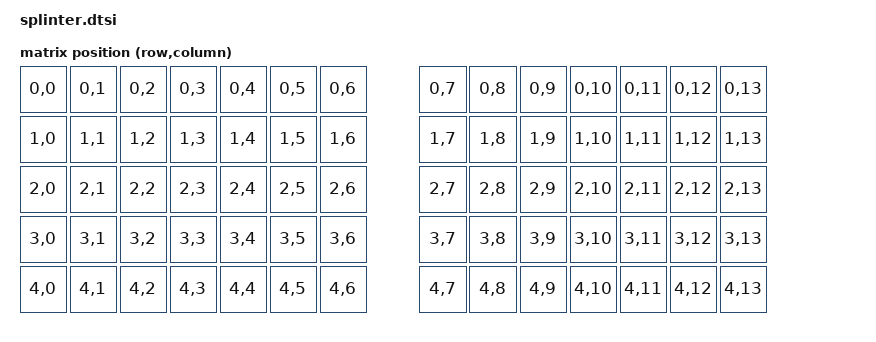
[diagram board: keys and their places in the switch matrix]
/*
 * Copyright (c) 2024 The ZMK Contributors
 * SPDX-License-Identifier: MIT
 *
 * Splinter 65% Split Keyboard - Shared Configuration
 * Matrix: 10 rows x 7 columns (5 rows per side)
 * 70 keys total (35 per side)
 */

#include <dt-bindings/zmk/matrix_transform.h>
#include <physical_layouts.dtsi>

/ {
    chosen {
        zmk,kscan = &kscan0;
    };

    /*
     * Key transform mapping physical keys to matrix positions
     * Left half: rows 0-4, Right half: rows 5-9
     *
     * Physical Layout:
     * ┌───┬───┬───┬───┬───┬───┬───┐   ┌───┬───┬───┬───┬───┬───┬───────┐
     * │ESC│ 1 │ 2 │ 3 │ 4 │ 5 │ 6 │   │ 7 │ 8 │ 9 │ 0 │ - │ = │ BKSPC │
     * ├───┴─┬─┴─┬─┴─┬─┴─┬─┴─┬─┴─┬─┘ ┌─┴─┬─┴─┬─┴─┬─┴─┬─┴─┬─┴─┬─┴─┬─────┤
     * │ TAB │ Q │ W │ E │ R │ T │   │ Y │ U │ I │ O │ P │ [ │ ] │  \  │
     * ├─────┴┬──┴┬──┴┬──┴┬──┴┬──┴┐  └┬──┴┬──┴┬──┴┬──┴┬──┴┬──┴┬──┴─────┤
     * │ CAPS │ A │ S │ D │ F │ G │   │ H │ J │ K │ L │ ; │ ' │  ENTER │
     * ├──────┴─┬─┴─┬─┴─┬─┴─┬─┴─┬─┴─┐ └─┬─┴─┬─┴─┬─┴─┬─┴─┬─┴─┬─┴─┬──────┤
     * │ SHIFT  │ ` │ Z │ X │ C │ V │ B │ N │ M │ , │ . │ / │UP │ DEL  │
     * ├────┬───┴┬──┴─┬─┴───┴───┴─┬─┴─┬─┴───┴───┴─┬─┴─┬─┴─┬─┴─┬─┴─┬────┤
     * │CTRL│ALT │GUI │   SPACE   │FN │   SPACE   │FN │HOM│←  │ ↓ │ →  │ENT│
     * └────┴────┴────┴───────────┴───┴───────────┴───┴───┴───┴───┴────┘
     */
    default_transform: keymap_transform_0 {
        compatible = "zmk,matrix-transform";
        columns = <14>;
        rows = <5>;
        map = <
            // Row 0: Number row
            RC(0,0) RC(0,1) RC(0,2) RC(0,3) RC(0,4) RC(0,5) RC(0,6)    RC(0,7) RC(0,8) RC(0,9) RC(0,10) RC(0,11) RC(0,12) RC(0,13)
            // Row 1: QWERTY row
            RC(1,0) RC(1,1) RC(1,2) RC(1,3) RC(1,4) RC(1,5) RC(1,6)    RC(1,7) RC(1,8) RC(1,9) RC(1,10) RC(1,11) RC(1,12) RC(1,13)
            // Row 2: Home row
            RC(2,0) RC(2,1) RC(2,2) RC(2,3) RC(2,4) RC(2,5) RC(2,6)    RC(2,7) RC(2,8) RC(2,9) RC(2,10) RC(2,11) RC(2,12) RC(2,13)
            // Row 3: Bottom alpha row
            RC(3,0) RC(3,1) RC(3,2) RC(3,3) RC(3,4) RC(3,5) RC(3,6)    RC(3,7) RC(3,8) RC(3,9) RC(3,10) RC(3,11) RC(3,12) RC(3,13)
            // Row 4: Bottom row (modifiers and space)
            RC(4,0) RC(4,1) RC(4,2) RC(4,3) RC(4,4) RC(4,5) RC(4,6)    RC(4,7) RC(4,8) RC(4,9) RC(4,10) RC(4,11) RC(4,12) RC(4,13)
        >;
    };

    kscan0: kscan {
        compatible = "zmk,kscan-gpio-matrix";
        wakeup-source;
        diode-direction = "col2row";
    };

    physical_layout0: physical_layout_0 {
        compatible = "zmk,physical-layout";
        display-name = "Default";
        transform = <&default_transform>;
        kscan = <&kscan0>;
        keys = <
            // Row 0: Number row (ESC, 1-6, 7-0, -, =, BSPC)
            &key_physical_attrs 100 100    0    0 0 0 0
            &key_physical_attrs 100 100  100    0 0 0 0
            &key_physical_attrs 100 100  200    0 0 0 0
            &key_physical_attrs 100 100  300    0 0 0 0
            &key_physical_attrs 100 100  400    0 0 0 0
            &key_physical_attrs 100 100  500    0 0 0 0
            &key_physical_attrs 100 100  600    0 0 0 0
            &key_physical_attrs 100 100  800    0 0 0 0
            &key_physical_attrs 100 100  900    0 0 0 0
            &key_physical_attrs 100 100 1000    0 0 0 0
            &key_physical_attrs 100 100 1100    0 0 0 0
            &key_physical_attrs 100 100 1200    0 0 0 0
            &key_physical_attrs 100 100 1300    0 0 0 0
            &key_physical_attrs 100 100 1400    0 0 0 0
            // Row 1: QWERTY row (TAB, Q-T, none, Y-P, [, ])
            &key_physical_attrs 100 100    0  100 0 0 0
            &key_physical_attrs 100 100  100  100 0 0 0
            &key_physical_attrs 100 100  200  100 0 0 0
            &key_physical_attrs 100 100  300  100 0 0 0
            &key_physical_attrs 100 100  400  100 0 0 0
            &key_physical_attrs 100 100  500  100 0 0 0
            &key_physical_attrs 100 100  600  100 0 0 0
            &key_physical_attrs 100 100  800  100 0 0 0
            &key_physical_attrs 100 100  900  100 0 0 0
            &key_physical_attrs 100 100 1000  100 0 0 0
            &key_physical_attrs 100 100 1100  100 0 0 0
            &key_physical_attrs 100 100 1200  100 0 0 0
            &key_physical_attrs 100 100 1300  100 0 0 0
            &key_physical_attrs 100 100 1400  100 0 0 0
            // Row 2: Home row (CAPS, A-G, none, H-L, ;, ', BSLH)
            &key_physical_attrs 100 100    0  200 0 0 0
            &key_physical_attrs 100 100  100  200 0 0 0
            &key_physical_attrs 100 100  200  200 0 0 0
            &key_physical_attrs 100 100  300  200 0 0 0
            &key_physical_attrs 100 100  400  200 0 0 0
            &key_physical_attrs 100 100  500  200 0 0 0
            &key_physical_attrs 100 100  600  200 0 0 0
            &key_physical_attrs 100 100  800  200 0 0 0
            &key_physical_attrs 100 100  900  200 0 0 0
            &key_physical_attrs 100 100 1000  200 0 0 0
            &key_physical_attrs 100 100 1100  200 0 0 0
            &key_physical_attrs 100 100 1200  200 0 0 0
            &key_physical_attrs 100 100 1300  200 0 0 0
            &key_physical_attrs 100 100 1400  200 0 0 0
            // Row 3: Bottom alpha row (SHIFT, `, Z-V, B, N-M, ,, ., /, UP, DEL)
            &key_physical_attrs 100 100    0  300 0 0 0
            &key_physical_attrs 100 100  100  300 0 0 0
            &key_physical_attrs 100 100  200  300 0 0 0
            &key_physical_attrs 100 100  300  300 0 0 0
            &key_physical_attrs 100 100  400  300 0 0 0
            &key_physical_attrs 100 100  500  300 0 0 0
            &key_physical_attrs 100 100  600  300 0 0 0
            &key_physical_attrs 100 100  800  300 0 0 0
            &key_physical_attrs 100 100  900  300 0 0 0
            &key_physical_attrs 100 100 1000  300 0 0 0
            &key_physical_attrs 100 100 1100  300 0 0 0
            &key_physical_attrs 100 100 1200  300 0 0 0
            &key_physical_attrs 100 100 1300  300 0 0 0
            &key_physical_attrs 100 100 1400  300 0 0 0
            // Row 4: Bottom row (CTRL, ALT, GUI, SPACE, none, none, FN, SPACE, FN, HOME, arrows, ENTER)
            &key_physical_attrs 100 100    0  400 0 0 0
            &key_physical_attrs 100 100  100  400 0 0 0
            &key_physical_attrs 100 100  200  400 0 0 0
            &key_physical_attrs 100 100  300  400 0 0 0
            &key_physical_attrs 100 100  400  400 0 0 0
            &key_physical_attrs 100 100  500  400 0 0 0
            &key_physical_attrs 100 100  600  400 0 0 0
            &key_physical_attrs 100 100  800  400 0 0 0
            &key_physical_attrs 100 100  900  400 0 0 0
            &key_physical_attrs 100 100 1000  400 0 0 0
            &key_physical_attrs 100 100 1100  400 0 0 0
            &key_physical_attrs 100 100 1200  400 0 0 0
            &key_physical_attrs 100 100 1300  400 0 0 0
            &key_physical_attrs 100 100 1400  400 0 0 0
        >;
    };
};
